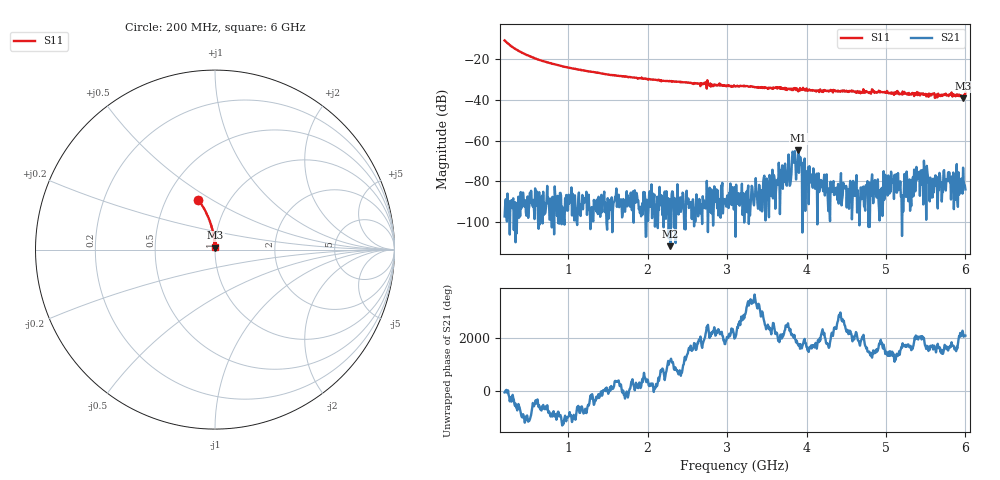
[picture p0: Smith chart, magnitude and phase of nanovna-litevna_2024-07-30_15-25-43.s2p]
! NanoVNA-App by OneOfEleven et al v1.1.209 (+OD15)
! Date: 2024-07-30 15:25:47
! Start: 200MHz Stop: 6GHz Points: 801
! S-Parameter data: F S11 S21 S12 S22
# Hz S RI R 50
!  Frequency  S11_Real  S11_Imag  S21_Real  S21_Imag  S12_Real  S12_Imag  S22_Real  S22_Imag
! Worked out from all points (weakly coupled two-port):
!   801 points, 200 MHz to 6 GHz, reference 50 ohm
!   highest |S21| = -64.71 dB at 3.897 GHz (marker M1); lowest = -111.8 dB at 2.288 GHz (marker M2)
!   lowest |S11| = -39.1 dB at 5.971 GHz (marker M3), VSWR 1.02, Z = 50.1 + j1.1 ohm
!   |S11| at or under -10 dB: start of sweep to end of sweep
!   S12 and S22 are empty: the file has one direction only
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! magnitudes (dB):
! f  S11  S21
! 200 MHz  -10.8  -97.2
! 598.8 MHz  -19.8  -84.6
! 1.171 GHz  -25.4  -91.5
! 2.136 GHz  -30.2  -91.4
! 2.288 GHz  -30.9  -111.8
! 3.1 GHz  -33.3  -82.7
! 3.615 GHz  -33.8  -85.3
! 3.709 GHz  -34.2  -74.2
! 3.752 GHz  -35.1  -82.1
! 3.774 GHz  -34.6  -66.8
! 3.847 GHz  -34.5  -68.6
! 3.897 GHz  -35.7  -64.7
! 3.912 GHz  -35.2  -70.5
! 3.977 GHz  -34.8  -68.8
! 4.072 GHz  -35.1  -79.9
! 4.289 GHz  -35.8  -93.8
! 5.036 GHz  -36.8  -78.2
! 5.304 GHz  -37.1  -94.4
! 5.492 GHz  -37.3  -85.4
! 5.58 GHz  -37.2  -80.4
! 5.971 GHz  -39.1  -73.2
! 6 GHz  -36.5  -83.9
